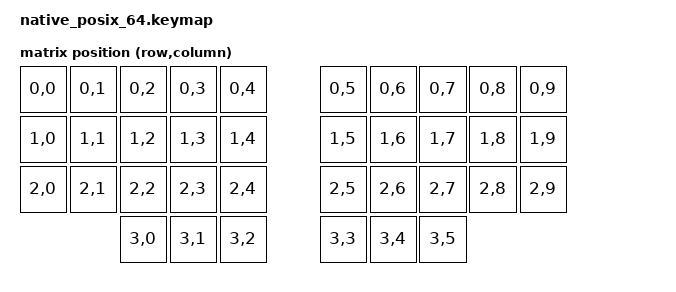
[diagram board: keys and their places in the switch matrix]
#include <dt-bindings/zmk/matrix_transform.h>
#include <dt-bindings/zmk/kscan_mock.h>

/ {
    chosen {
        zmk,matrix-transform = &transform;
    };

    /* op36 position N is RC(N/10, N%10); thumbs 30..35 are row 3. */
    transform: keymap_transform {
        compatible = "zmk,matrix-transform";
        columns = <10>;
        rows = <4>;
        map = <
            RC(0,0) RC(0,1) RC(0,2) RC(0,3) RC(0,4) RC(0,5) RC(0,6) RC(0,7) RC(0,8) RC(0,9)
            RC(1,0) RC(1,1) RC(1,2) RC(1,3) RC(1,4) RC(1,5) RC(1,6) RC(1,7) RC(1,8) RC(1,9)
            RC(2,0) RC(2,1) RC(2,2) RC(2,3) RC(2,4) RC(2,5) RC(2,6) RC(2,7) RC(2,8) RC(2,9)
            RC(3,0) RC(3,1) RC(3,2) RC(3,3) RC(3,4) RC(3,5)
        >;
    };
};

&kscan {
    rows = <4>;
    columns = <10>;
    events = <
        /* lead-in so require-prior-idle-ms sees real idle time */
        ZMK_MOCK_PRESS(0,1,10)
        ZMK_MOCK_RELEASE(0,1,400)

        /* cmbru: thumbs 31 and 34 tapped together leave en for ru and send one
           Globe, so pos 1 must read as й (0x14) rather than W (0x1A). */
        ZMK_MOCK_PRESS(3,1,5)
        ZMK_MOCK_PRESS(3,4,20)
        ZMK_MOCK_RELEASE(3,1,10)
        ZMK_MOCK_RELEASE(3,4,300)
        ZMK_MOCK_PRESS(0,1,30)
        ZMK_MOCK_RELEASE(0,1,300)

        /* cmben, the other direction: one more Globe, pos 1 is W again. */
        ZMK_MOCK_PRESS(3,1,5)
        ZMK_MOCK_PRESS(3,4,20)
        ZMK_MOCK_RELEASE(3,1,10)
        ZMK_MOCK_RELEASE(3,4,300)
        ZMK_MOCK_PRESS(0,1,30)
        ZMK_MOCK_RELEASE(0,1,300)

        /* Position 32 is the key the switch vacated. Tapped, it is Escape
           (0x29) and nothing else: no Globe, and pos 1 still reads W. */
        ZMK_MOCK_PRESS(3,2,30)
        ZMK_MOCK_RELEASE(3,2,300)
        ZMK_MOCK_PRESS(0,1,30)
        ZMK_MOCK_RELEASE(0,1,300)

        /* Tapped in sequence rather than together, the same two thumbs are
           still Space (0x2C) and Backspace (0x2A): outside timeout-ms the
           combo must not fire. */
        ZMK_MOCK_PRESS(3,1,50)
        ZMK_MOCK_RELEASE(3,1,200)
        ZMK_MOCK_PRESS(3,4,50)
        ZMK_MOCK_RELEASE(3,4,200)
    >;
};

#include "/cfg/op36_ruen.keymap"
